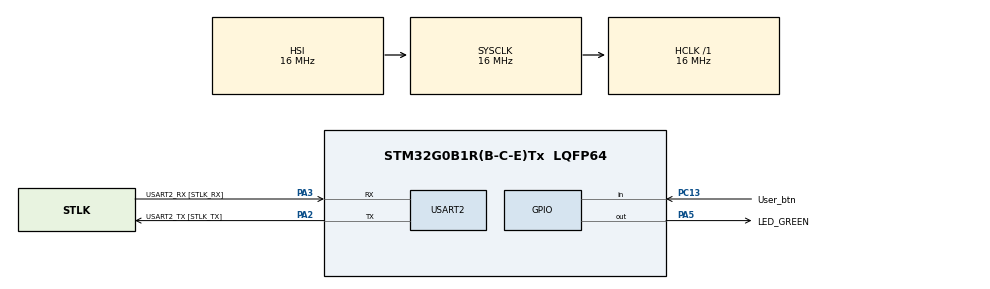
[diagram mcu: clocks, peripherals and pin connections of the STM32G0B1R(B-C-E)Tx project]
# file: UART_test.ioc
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Mcu.Family=STM32G0
Mcu.Name=STM32G0B1R(B-C-E)Tx
Mcu.Package=LQFP64
NVIC.USART2_LPUART2_IRQn=true\:0\:0\:false\:false\:true\:true\:true\:true
PA13.GPIO_Label=TMS
PA13.Mode=Serial_Wire
PA13.Signal=SYS_SWDIO
PA14-BOOT0.GPIO_Label=TCK
PA14-BOOT0.Mode=Serial_Wire
PA14-BOOT0.Signal=SYS_SWCLK
PA2.GPIO_Label=USART2_TX [STLK_TX]
PA2.Mode=Asynchronous
PA2.Signal=USART2_TX
PA3.GPIO_Label=USART2_RX [STLK_RX]
PA3.Mode=Asynchronous
PA3.Signal=USART2_RX
PA5.GPIO_Label=LED_GREEN
PA5.GPIO_Speed=GPIO_SPEED_FREQ_HIGH
PA5.Signal=GPIO_Output
PC13.GPIO_Label=User_btn
PC13.Signal=GPIO_Input
PC14-OSC32_IN\ (PC14).Mode=LSE-External-Oscillator
PC14-OSC32_IN\ (PC14).Signal=RCC_OSC32_IN
PC15-OSC32_OUT\ (PC15).Mode=LSE-External-Oscillator
PC15-OSC32_OUT\ (PC15).Signal=RCC_OSC32_OUT
PF0-OSC_IN\ (PF0).GPIO_Label=MCO
PF0-OSC_IN\ (PF0).Mode=HSE-External-Clock-Source
PF0-OSC_IN\ (PF0).Signal=RCC_OSC_IN
ProjectManager.HeapSize=0x200
ProjectManager.StackSize=0x400
ProjectManager.TargetToolchain=STM32CubeIDE
RCC.AHBFreq_Value=16000000
RCC.CortexFreq_Value=16000000
RCC.EXTERNAL_CLOCK_VALUE=12288000
RCC.HCLKFreq_Value=16000000
RCC.HSE_VALUE=8000000
RCC.HSI48_VALUE=48000000
RCC.HSI_VALUE=16000000
RCC.SYSCLKFreq_VALUE=16000000
RCC.USBFreq_Value=48000000
RCC.VCOOutputFreq_Value=128000000
USART2.VirtualMode-Asynchronous=VM_ASYNC
board=NUCLEO-G0B1RE

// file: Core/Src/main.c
/* USER CODE BEGIN Header */
/**
  ******************************************************************************
  * @file           : main.c
  * @brief          : Main program body
  ******************************************************************************
  * @attention
  *
  * Copyright (c) 2024 STMicroelectronics.
  * All rights reserved.
  *
  * This software is licensed under terms that can be found in the LICENSE file
  * in the root directory of this software component.
  * If no LICENSE file comes with this software, it is provided AS-IS.
  *
  ******************************************************************************
  */
/* USER CODE END Header */
#include "main.h"
#include <stdbool.h>

UART_HandleTypeDef huart2;

/* USER CODE BEGIN PV */
uint8_t tx_buffer[25]="Welcome to UART\n\r";
uint8_t rx_indx;
uint8_t rx_data[1];
uint8_t rx_buffer[100];
uint8_t transfer_cplt;

bool prev_state = 0;

/* USER CODE END PV */

void SystemClock_Config(void);
static void MX_GPIO_Init(void);
static void MX_USART2_UART_Init(void);

int main(void)
{

  /* MCU Configuration--------------------------------------------------------*/

  /* Reset of all peripherals, Initializes the Flash interface and the Systick. */
  HAL_Init();

  /* Configure the system clock */
  SystemClock_Config();

  /* Initialize all configured peripherals */
  MX_GPIO_Init();
  MX_USART2_UART_Init();
  /* USER CODE BEGIN 2 */
  HAL_UART_Receive_IT(&huart2, rx_data, 1);
  /* USER CODE END 2 */

  /* Infinite loop */
  /* USER CODE BEGIN WHILE */
  while (1)
  {
	  bool stateOfPushButton = HAL_GPIO_ReadPin(GPIOC, User_btn_Pin);
	  if (prev_state == 1 && stateOfPushButton == 0){
		  HAL_UART_Transmit(&huart2, "Pressed!\n\r", 10, 10);
	  } else if (prev_state != stateOfPushButton){
		  HAL_UART_Transmit(&huart2, "Released!\n\r", 11, 10);
	  }
	  prev_state = stateOfPushButton;

//	  char stateChar[3]; // Assuming the state can be represented in a 3-character string
//	  sprintf(stateChar, "%d", stateOfPushButton);
//	  HAL_UART_Transmit(&huart2, (uint8_t *)stateChar, strlen(stateChar), 10);

//	  HAL_UART_Transmit(&huart2, rx_data, strlen(rx_data), 100);
    /* USER CODE END WHILE */

    /* USER CODE BEGIN 3 */
//	  HAL_UART_Transmit(&huart2, tx_buffer, 27, 10);
//	  HAL_Delay(1000);

  }
  /* USER CODE END 3 */
}

void SystemClock_Config(void)
{
  RCC_OscInitTypeDef RCC_OscInitStruct = {0};
  RCC_ClkInitTypeDef RCC_ClkInitStruct = {0};

  /** Configure the main internal regulator output voltage
  */
  HAL_PWREx_ControlVoltageScaling(PWR_REGULATOR_VOLTAGE_SCALE1);

  /** Initializes the RCC Oscillators according to the specified parameters
  * in the RCC_OscInitTypeDef structure.
  */
  RCC_OscInitStruct.OscillatorType = RCC_OSCILLATORTYPE_HSI;
  RCC_OscInitStruct.HSIState = RCC_HSI_ON;
  RCC_OscInitStruct.HSIDiv = RCC_HSI_DIV1;
  RCC_OscInitStruct.HSICalibrationValue = RCC_HSICALIBRATION_DEFAULT;
  RCC_OscInitStruct.PLL.PLLState = RCC_PLL_NONE;
  if (HAL_RCC_OscConfig(&RCC_OscInitStruct) != HAL_OK)
  {
    Error_Handler();
  }

  /** Initializes the CPU, AHB and APB buses clocks
  */
  RCC_ClkInitStruct.ClockType = RCC_CLOCKTYPE_HCLK|RCC_CLOCKTYPE_SYSCLK
                              |RCC_CLOCKTYPE_PCLK1;
  RCC_ClkInitStruct.SYSCLKSource = RCC_SYSCLKSOURCE_HSI;
  RCC_ClkInitStruct.AHBCLKDivider = RCC_SYSCLK_DIV1;
  RCC_ClkInitStruct.APB1CLKDivider = RCC_HCLK_DIV1;

  if (HAL_RCC_ClockConfig(&RCC_ClkInitStruct, FLASH_LATENCY_0) != HAL_OK)
  {
    Error_Handler();
  }
}

static void MX_USART2_UART_Init(void)
{

  huart2.Instance = USART2;
  huart2.Init.BaudRate = 115200;
  huart2.Init.WordLength = UART_WORDLENGTH_8B;
  huart2.Init.StopBits = UART_STOPBITS_1;
  huart2.Init.Parity = UART_PARITY_NONE;
  huart2.Init.Mode = UART_MODE_TX_RX;
  huart2.Init.HwFlowCtl = UART_HWCONTROL_NONE;
  huart2.Init.OverSampling = UART_OVERSAMPLING_16;
  huart2.Init.OneBitSampling = UART_ONE_BIT_SAMPLE_DISABLE;
  huart2.Init.ClockPrescaler = UART_PRESCALER_DIV1;
  huart2.AdvancedInit.AdvFeatureInit = UART_ADVFEATURE_NO_INIT;
  if (HAL_UART_Init(&huart2) != HAL_OK)
  {
    Error_Handler();
  }
  if (HAL_UARTEx_SetTxFifoThreshold(&huart2, UART_TXFIFO_THRESHOLD_1_8) != HAL_OK)
  {
    Error_Handler();
  }
  if (HAL_UARTEx_SetRxFifoThreshold(&huart2, UART_RXFIFO_THRESHOLD_1_8) != HAL_OK)
  {
    Error_Handler();
  }
  if (HAL_UARTEx_DisableFifoMode(&huart2) != HAL_OK)
  {
    Error_Handler();
  }

}

static void MX_GPIO_Init(void)
{
  GPIO_InitTypeDef GPIO_InitStruct = {0};

  /* GPIO Ports Clock Enable */
  __HAL_RCC_GPIOC_CLK_ENABLE();
  __HAL_RCC_GPIOF_CLK_ENABLE();
  __HAL_RCC_GPIOA_CLK_ENABLE();

  /*Configure GPIO pin Output Level */
  HAL_GPIO_WritePin(LED_GREEN_GPIO_Port, LED_GREEN_Pin, GPIO_PIN_RESET);

  /*Configure GPIO pin : User_btn_Pin */
  GPIO_InitStruct.Pin = User_btn_Pin;
  GPIO_InitStruct.Mode = GPIO_MODE_INPUT;
  GPIO_InitStruct.Pull = GPIO_NOPULL;
  HAL_GPIO_Init(User_btn_GPIO_Port, &GPIO_InitStruct);

  /*Configure GPIO pin : LED_GREEN_Pin */
  GPIO_InitStruct.Pin = LED_GREEN_Pin;
  GPIO_InitStruct.Mode = GPIO_MODE_OUTPUT_PP;
  GPIO_InitStruct.Pull = GPIO_NOPULL;
  GPIO_InitStruct.Speed = GPIO_SPEED_FREQ_HIGH;
  HAL_GPIO_Init(LED_GREEN_GPIO_Port, &GPIO_InitStruct);

}

/* USER CODE BEGIN 4 */
void HAL_UART_RxCpltCallback(UART_HandleTypeDef *huart)
{
  /* Prevent unused argument(s) compilation warning */
  UNUSED(huart);

  /* NOTE : This function should not be modified, when the callback is needed,
            the HAL_UART_RxCpltCallback can be implemented in the user file.
   */
  uint8_t i;
  	  if(huart->Instance == USART2)
  	  {
  		  if(rx_indx == 0){
  			  for(i=0; i<100; i++){
  				  rx_buffer[i] = 0;
  			  }
  		  }
//
  		  if(rx_data[0] != 13){
  			  rx_buffer[rx_indx++] = rx_data[0];
  		  }else{
  			  rx_indx = 0;
  			  transfer_cplt = 1;
  			  HAL_UART_Transmit(&huart2, "\n\r", 2, 100);
  			  if(!strcmp(rx_buffer, "LED ON"))
  			  {
  				  HAL_GPIO_WritePin(GPIOA, LED_GREEN_Pin, GPIO_PIN_SET);
  			  }else if(!strcmp(rx_buffer, "LED OFF"))
  			  {
  				  HAL_GPIO_WritePin(GPIOA, LED_GREEN_Pin, GPIO_PIN_RESET);
  			  }

  		  }
//
//  		  HAL_UART_Receive_IT(&huart2, rx_data, 1);
//  		  HAL_UART_Transmit(&huart2, rx_data, strlen(rx_data), 100);
////  		  HAL_GPIO_WritePin(GPIOA, LED_GREEN_Pin, GPIO_PIN_SET);
  		  HAL_UART_Receive_IT(&huart2, rx_data, 1);
  		  HAL_UART_Transmit(&huart2, rx_data, strlen(rx_data), 100);
  	  }
}

/* USER CODE END 4 */

void Error_Handler(void)
{
  __disable_irq();
  while (1)
  {
  }
}
